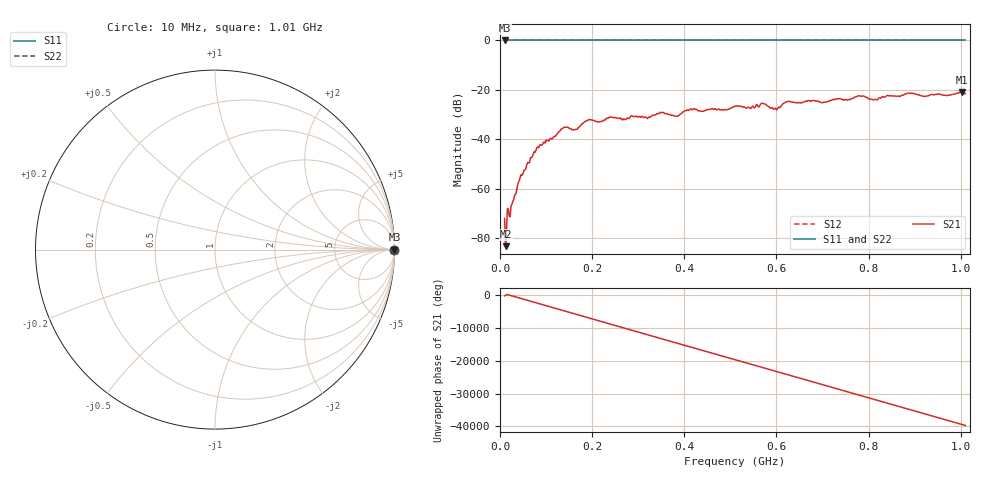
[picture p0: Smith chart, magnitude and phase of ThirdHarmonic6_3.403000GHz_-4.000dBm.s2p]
! 8/17/2025 10:52:25 AM
! C:\ANRITSUVNA\TEMP\TEMP.S2P
! CHANNEL.1
! TR.MEASUREMENT
! RAW.DATA
! RF.CORRECTION.OFF
! AVERAGING.OFF
! IF.BANDWIDTH: 5KHZ
! SWEEPTYPE:  FREQ.SWEEP(Linear)
! Reference Plane Port Info
! PORT:  PORT1  PORT2
! DISTANCE:  0  m  0  m
! TIME:  0  s  0  s
! PHASE.OFFSET:  0  deg.  0  deg.
! LOSS:  0  dB  0  dB
! REF.LOSS:  0  dB  0  dB
! REF.FREQ:  0  Hz  0  Hz
! Power Info
! POWER:  -20  dBm  -20  dBm
! EFF.POWER:  -20  dBm  -20  dBm
! SOURCE.ATTEN:  0  dB  0  dB
! TEST.ATTEN:  0  dB  0  dB
# GHZ S RI R 50.0
! FREQ.GHZ  S11RE  S11IM  S21RE  S21IM  S12RE  S12IM  S22RE  S22IM
!; PortSelection: Port_12
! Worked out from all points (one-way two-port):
!   501 points, 10 MHz to 1.01 GHz, reference 50 ohm
!   highest |S21| = -20.89 dB at 1.002 GHz (marker M1); lowest = -83.3 dB at 12 MHz (marker M2)
!   lowest |S11| = 0.0 dB at 10 MHz (marker M3)
!   |S11| at or under -10 dB: nowhere
!   |S22| runs from 0.0 to 0.0 dB; largest |S21 - S12| = 1.1
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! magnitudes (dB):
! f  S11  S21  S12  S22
! 10 MHz  0.0  -72.1  0.0  0.0
! 12 MHz  0.0  -83.3  0.0  0.0
! 16 MHz  0.0  -68.1  0.0  0.0
! 20 MHz  0.0  -71.1  0.0  0.0
! 42 MHz  0.0  -56.7  0.0  0.0
! 78 MHz  0.0  -44.5  0.0  0.0
! 136 MHz  0.0  -35.7  0.0  0.0
! 164 MHz  0.0  -36.1  0.0  0.0
! 178 MHz  0.0  -33.8  0.0  0.0
! 194 MHz  0.0  -32.0  0.0  0.0
! 322 MHz  0.0  -31.3  0.0  0.0
! 344 MHz  0.0  -29.7  0.0  0.0
! 384 MHz  0.0  -30.7  0.0  0.0
! 418 MHz  0.0  -28.1  0.0  0.0
! 510 MHz  0.0  -26.7  0.0  0.0
! 572 MHz  0.0  -25.6  0.0  0.0
! 598 MHz  0.0  -27.5  0.0  0.0
! 624 MHz  0.0  -24.7  0.0  0.0
! 678 MHz  0.0  -24.4  0.0  0.0
! 844 MHz  0.0  -22.4  0.0  0.0
! 1.002 GHz  0.0  -20.9  0.0  0.0
! 1.01 GHz  0.0  -21.5  0.0  0.0
